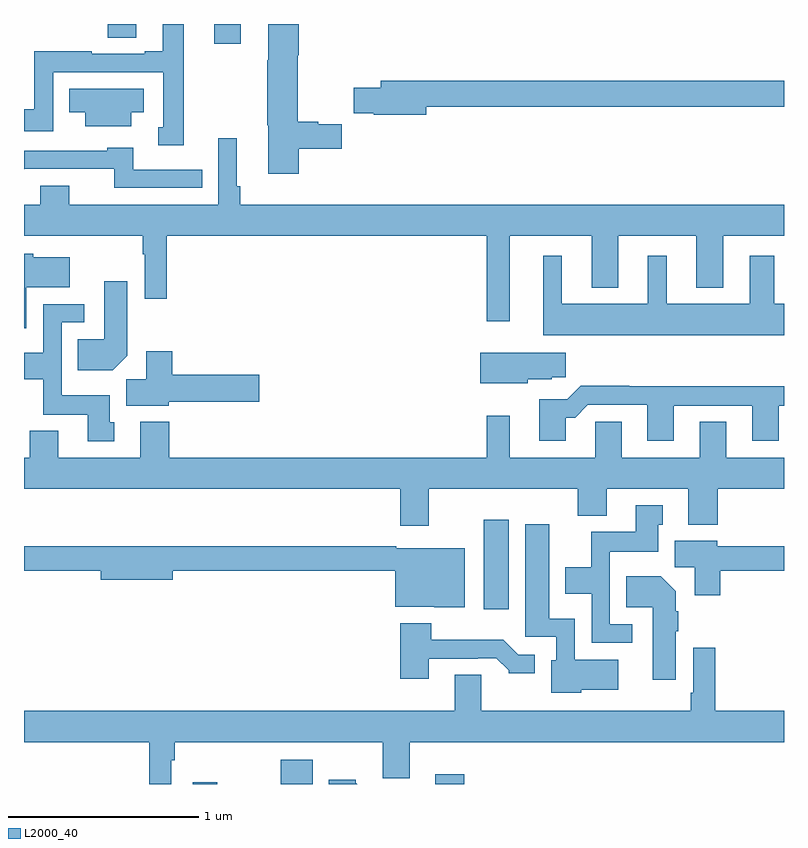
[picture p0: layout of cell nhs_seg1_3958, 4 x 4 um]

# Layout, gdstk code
import gdstk
lib = gdstk.Library(unit=1e-6, precision=1e-09)
def R(c, l, rs):  # rectangles x0, y0, x1, y1
    for r in rs: c.add(gdstk.rectangle(r[:2], r[2:], *l))
def P(c, l, *ps):  # polygons
    for p in ps: c.add(gdstk.Polygon(p, *l))
L2000_40 = (2000, 40)

nhs_seg1_3958 = lib.new_cell('nhs_seg1_3958')
R(nhs_seg1_3958, L2000_40, [(327.887,530.199,328.017,530.209), (328.351,530.199,328.519,530.326), (329.165,530.199,329.318,530.251), (329.42,531.12,329.551,531.589), (328.001,534.096,328.141,534.199), (327.44,534.127,327.592,534.199)])
P(nhs_seg1_3958, L2000_40, [(327.841,534.199),(327.731,534.199),(327.731,534.055),(327.635,534.055),(327.635,534.042),(327.356,534.042),(327.356,534.055),(327.055,534.055),(327.055,533.75),(327,533.75),(327,533.634),(327.153,533.634),(327.153,533.946),(327.732,533.946),(327.732,533.655),(327.707,533.655),(327.707,533.561),(327.841,533.561)],
  [(328.445,533.542),(328.673,533.542),(328.673,533.672),(328.548,533.672),(328.548,533.684),(328.44,533.684),(328.44,534.034),(328.445,534.034),(328.445,534.199),(328.286,534.199),(328.286,534.008),(328.279,534.008),(328.279,533.667),(328.286,533.667),(328.286,533.412),(328.445,533.412)],
  [(329.116,533.764),(331,533.764),(331,533.9),(328.877,533.9),(328.877,533.864),(328.735,533.864),(328.735,533.73),(328.84,533.73),(328.84,533.722),(329.116,533.722)],
  [(327.565,533.735),(327.631,533.735),(327.631,533.857),(327.238,533.857),(327.238,533.735),(327.323,533.735),(327.323,533.66),(327.565,533.66)],
  [(329.557,533.084),(329.987,533.084),(329.987,532.811),(330.127,532.811),(330.127,533.084),(330.539,533.084),(330.539,532.811),(330.679,532.811),(330.679,533.084),(331,533.084),(331,533.248),(328.139,533.248),(328.139,533.344),(328.12,533.344),(328.12,533.599),(328.023,533.599),(328.023,533.248),(327.238,533.248),(327.238,533.347),(327.086,533.347),(327.086,533.248),(327,533.248),(327,533.084),(327.624,533.084),(327.624,532.988),(327.636,532.988),(327.636,532.752),(327.752,532.752),(327.752,533.084),(329.436,533.084),(329.436,532.635),(329.557,532.635)],
  [(327.938,533.433),(327.574,533.433),(327.574,533.548),(327.438,533.548),(327.438,533.532),(327,533.532),(327,533.435),(327.002,533.435),(327.002,533.436),(327.475,533.436),(327.475,533.337),(327.938,533.337)],
  [(327.012,532.814),(327.241,532.814),(327.241,532.972),(327.048,532.972),(327.048,532.99),(327,532.99),(327,532.598),(327.012,532.598)],
  [(331,532.726),(330.949,532.726),(330.949,532.978),(330.821,532.978),(330.821,532.726),(330.382,532.726),(330.382,532.978),(330.284,532.978),(330.284,532.726),(329.83,532.726),(329.83,532.978),(329.732,532.978),(329.732,532.562),(331,532.562)],
  [(327.544,532.454),(327.544,532.846),(327.422,532.846),(327.422,532.54),(327.283,532.54),(327.283,532.376),(327.466,532.376)],
  [(327.475,532.104),(327.451,532.104),(327.451,532.246),(327.198,532.246),(327.198,532.629),(327.316,532.629),(327.316,532.725),(327.102,532.725),(327.102,532.468),(327,532.468),(327,532.328),(327.1,532.328),(327.1,532.142),(327.335,532.142),(327.335,532.002),(327.475,532.002)],
  [(327.762,532.21),(328.237,532.21),(328.237,532.352),(327.779,532.352),(327.779,532.477),(327.644,532.477),(327.644,532.328),(327.539,532.328),(327.539,532.19),(327.762,532.19)],
  [(329.652,532.328),(329.778,532.328),(329.778,532.339),(329.851,532.339),(329.851,532.468),(329.402,532.468),(329.402,532.307),(329.652,532.307)],
  [(329.851,532.127),(329.9,532.127),(329.967,532.194),(330.281,532.194),(330.281,532.005),(330.421,532.005),(330.421,532.191),(330.833,532.191),(330.833,532.005),(330.973,532.005),(330.973,532.191),(331,532.191),(331,532.292),(330.185,532.292),(330.185,532.295),(329.93,532.295),(329.859,532.224),(329.711,532.224),(329.711,532.005),(329.851,532.005)],
  [(329.131,531.752),(329.915,531.752),(329.915,531.611),(330.067,531.611),(330.067,531.752),(330.497,531.752),(330.497,531.563),(330.65,531.563),(330.65,531.752),(331,531.752),(331,531.916),(330.697,531.916),(330.697,532.106),(330.557,532.106),(330.557,531.916),(330.145,531.916),(330.145,532.106),(330.006,532.106),(330.006,531.916),(329.557,531.916),(329.557,532.138),(329.436,532.138),(329.436,531.916),(327.764,531.916),(327.764,532.105),(327.611,532.105),(327.611,531.916),(327.181,531.916),(327.181,532.057),(327.029,532.057),(327.029,531.916),(327,531.916),(327,531.752),(328.979,531.752),(328.979,531.558),(329.131,531.558)],
  [(330.202,531.039),(330.084,531.039),(330.084,531.422),(330.337,531.422),(330.337,531.564),(330.361,531.564),(330.361,531.667),(330.221,531.667),(330.221,531.526),(329.986,531.526),(329.986,531.34),(329.849,531.34),(329.849,531.2),(329.988,531.2),(329.988,530.943),(330.202,530.943)],
  [(329.934,530.696),(330.127,530.696),(330.127,530.854),(329.898,530.854),(329.898,531.07),(329.764,531.07),(329.764,531.565),(329.639,531.565),(329.639,530.973),(329.802,530.973),(329.802,530.85),(329.774,530.85),(329.774,530.678),(329.934,530.678)],
  [(330.665,531.322),(331,531.322),(331,531.451),(330.648,531.451),(330.648,531.478),(330.425,531.478),(330.425,531.34),(330.53,531.34),(330.53,531.192),(330.665,531.192)],
  [(329.32,531.439),(328.959,531.439),(328.959,531.451),(327,531.451),(327,531.322),(327.404,531.322),(327.404,531.275),(327.784,531.275),(327.784,531.322),(328.955,531.322),(328.955,531.131),(329.16,531.131),(329.16,531.128),(329.32,531.128)],
  [(330.43,531.004),(330.443,531.004),(330.443,531.107),(330.43,531.107),(330.43,531.214),(330.352,531.292),(330.169,531.292),(330.169,531.128),(330.308,531.128),(330.308,530.748),(330.43,530.748)],
  [(329.131,530.859),(329.387,530.859),(329.387,530.862),(329.486,530.862),(329.55,530.798),(329.55,530.783),(329.689,530.783),(329.689,530.88),(329.601,530.88),(329.523,530.959),(329.144,530.959),(329.144,531.046),(328.979,531.046),(328.979,530.754),(329.131,530.754)],
  [(331,530.584),(330.638,530.584),(330.638,530.917),(330.522,530.917),(330.522,530.68),(330.51,530.68),(330.51,530.584),(329.407,530.584),(329.407,530.774),(329.267,530.774),(329.267,530.584),(327,530.584),(327,530.42),(327.658,530.42),(327.658,530.199),(327.774,530.199),(327.774,530.324),(327.794,530.324),(327.794,530.42),(328.889,530.42),(328.889,530.23),(329.029,530.23),(329.029,530.42),(331,530.42)],
  [(328.746,530.206),(328.746,530.221),(328.604,530.221),(328.604,530.199),(328.753,530.199)])

lib.write_gds('nhs_seg1_3958.gds')
